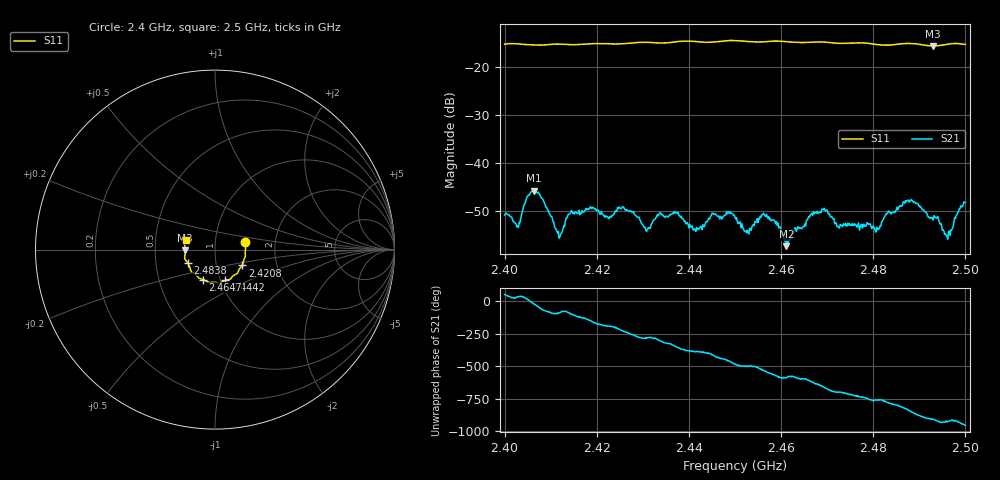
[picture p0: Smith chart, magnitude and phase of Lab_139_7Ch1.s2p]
# Hz S RI R 50
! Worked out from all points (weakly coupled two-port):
!   601 points, 2.4 GHz to 2.5 GHz, reference 50 ohm
!   highest |S21| = -45.83 dB at 2.4063 GHz (marker M1); lowest = -57.4 dB at 2.4612 GHz (marker M2)
!   lowest |S11| = -15.6 dB at 2.493 GHz (marker M3), VSWR 1.40, Z = 35.8 - j0.242 ohm
!   |S11| at or under -10 dB: start of sweep to end of sweep
!   S12 and S22 are empty: the file has one direction only
!   S11 on the Smith chart (normalised r, x): 2.4 GHz: 1.40, +0.12; 2.4208 GHz: 1.33, -0.24; 2.4442 GHz: 1.05, -0.37; 2.4647 GHz: 0.83, -0.29; 2.4838 GHz: 0.73, -0.11; 2.5 GHz: 0.72, +0.08
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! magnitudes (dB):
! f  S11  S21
! 2.4 GHz  -15.2  -50.9
! 2.4028 GHz  -15.2  -53.2
! 2.4063 GHz  -15.4  -45.8
! 2.4118 GHz  -15.2  -55.7
! 2.4167 GHz  -15.3  -50.5
! 2.4208 GHz  -15.1  -50.8
! 2.4312 GHz  -14.9  -53.6
! 2.4333 GHz  -15.0  -51.1
! 2.4442 GHz  -14.9  -51.8
! 2.45 GHz  -14.5  -51.4
! 2.4525 GHz  -14.7  -54.6
! 2.4565 GHz  -14.7  -51.0
! 2.4612 GHz  -14.7  -57.4
! 2.4647 GHz  -14.9  -53.4
! 2.4667 GHz  -14.8  -50.6
! 2.4808 GHz  -15.3  -53.4
! 2.4833 GHz  -15.5  -50.1
! 2.4838 GHz  -15.4  -50.7
! 2.4878 GHz  -15.1  -48.2
! 2.493 GHz  -15.6  -52.0
! 2.4962 GHz  -15.3  -56.0
! 2.5 GHz  -15.3  -48.3
